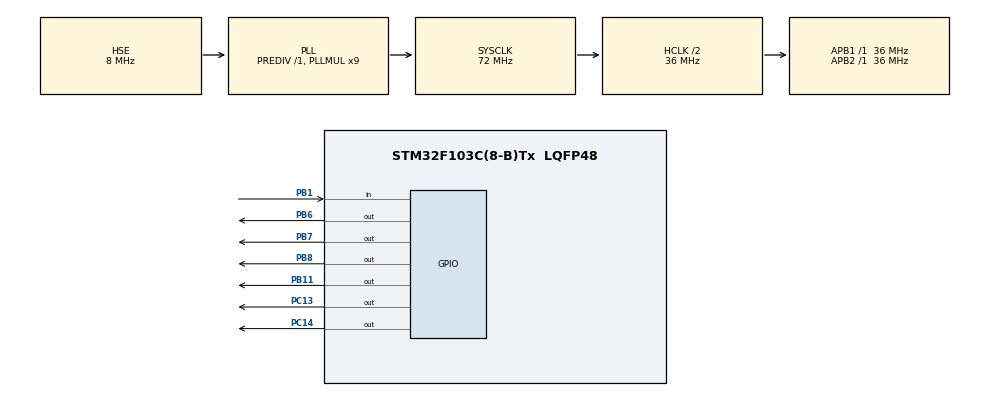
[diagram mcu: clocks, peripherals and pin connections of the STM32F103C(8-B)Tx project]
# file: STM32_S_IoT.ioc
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Mcu.Family=STM32F1
Mcu.Name=STM32F103C(8-B)Tx
Mcu.Package=LQFP48
NVIC.PriorityGroup=NVIC_PRIORITYGROUP_4
NVIC.TIM3_IRQn=true\:0\:0\:false\:false\:true\:true\:true
PA13.Mode=Serial_Wire
PA13.Signal=SYS_JTMS-SWDIO
PA14.Mode=Serial_Wire
PA14.Signal=SYS_JTCK-SWCLK
PB1.GPIO_PuPd=GPIO_PULLUP
PB1.Signal=GPIO_Input
PB11.GPIO_ModeDefaultOutputPP=GPIO_MODE_OUTPUT_OD
PB11.GPIO_Speed=GPIO_SPEED_FREQ_HIGH
PB11.Signal=GPIO_Output
PB6.GPIO_Speed=GPIO_SPEED_FREQ_HIGH
PB6.Signal=GPIO_Output
PB7.GPIO_ModeDefaultOutputPP=GPIO_MODE_OUTPUT_OD
PB7.GPIO_Speed=GPIO_SPEED_FREQ_HIGH
PB7.Signal=GPIO_Output
PB8.GPIO_Speed=GPIO_SPEED_FREQ_HIGH
PB8.Signal=GPIO_Output
PC13-TAMPER-RTC.Signal=GPIO_Output
PC14-OSC32_IN.Signal=GPIO_Output
PD0-OSC_IN.Mode=HSE-External-Oscillator
PD0-OSC_IN.Signal=RCC_OSC_IN
PD1-OSC_OUT.Mode=HSE-External-Oscillator
PD1-OSC_OUT.Signal=RCC_OSC_OUT
ProjectManager.HeapSize=0x200
ProjectManager.StackSize=0x400
ProjectManager.TargetToolchain=MDK-ARM V5.27
RCC.AHBCLKDivider=RCC_SYSCLK_DIV2
RCC.AHBFreq_Value=36000000
RCC.APB1Freq_Value=36000000
RCC.APB1TimFreq_Value=36000000
RCC.APB2Freq_Value=36000000
RCC.APB2TimFreq_Value=36000000
RCC.HCLKFreq_Value=36000000
RCC.PLLMUL=RCC_PLL_MUL9
RCC.PLLSourceVirtual=RCC_PLLSOURCE_HSE
RCC.SYSCLKFreq_VALUE=72000000
RCC.SYSCLKSource=RCC_SYSCLKSOURCE_PLLCLK
RCC.USBFreq_Value=72000000
TIM3.AutoReloadPreload=TIM_AUTORELOAD_PRELOAD_ENABLE
TIM3.Period=4
TIM3.Prescaler=35
VP_TIM3_VS_ClockSourceINT.Mode=Internal
board=custom

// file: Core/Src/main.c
/* USER CODE BEGIN Header */
/**
  ******************************************************************************
  * @file           : main.c
  * @brief          : Main program body
  ******************************************************************************
  * @attention
  *
  * <h2><center>&copy; Copyright (c) 2021 STMicroelectronics.
  * All rights reserved.</center></h2>
  *
  * This software component is licensed by ST under BSD 3-Clause license,
  * the "License"; You may not use this file except in compliance with the
  * License. You may obtain a copy of the License at:
  *                        opensource.org/licenses/BSD-3-Clause
  *
  ******************************************************************************
  */
/* USER CODE END Header */
#include "main.h"

/* USER CODE BEGIN Includes */
#include "DS18B20_Temp.h"
#include "DS1302.h"
/* USER CODE END Includes */

TIM_HandleTypeDef htim3;

/* USER CODE BEGIN PV */
		float TempCelsium=0;	//Переменная для хранения температуры
/* USER CODE END PV */

void SystemClock_Config(void);
static void MX_GPIO_Init(void);
static void MX_TIM3_Init(void);

int main(void)
{

  /* MCU Configuration--------------------------------------------------------*/

  /* Reset of all peripherals, Initializes the Flash interface and the Systick. */
  HAL_Init();

  /* Configure the system clock */
  SystemClock_Config();

  /* Initialize all configured peripherals */
  MX_GPIO_Init();
  MX_TIM3_Init();
  /* USER CODE BEGIN 2 */
	uint8_t Write_On=0;
	//Write_On=0xff;
	if(Write_On==0xff)
	{
		Data_time_set.sec=5;
		Data_time_set.min=49;
		Data_time_set.hour=15;
		Data_time_set.day=7;
		Data_time_set.day_of_week=3;
		Data_time_set.month=4;
		Data_time_set.year=21;
		Write_All_DS1302();
	}

		uint32_t Time_On=23*60+5;		//23:05 время вкл
		uint32_t Time_Off=5*60+00; 	//06:55 время выкл

		float Temp_H_min=15; 						//Температура по умолчанию
		float Temp_H_max=Temp_H_min+1;	//Температура с гистерезисом
		float Temp_H=Temp_H_min; 				//Температура стартовая

		//включаем передачу
		HAL_TIM_Base_Start(&htim3);
		HAL_TIM_Base_Start_IT(&htim3);

	HAL_Delay(1000); //первое преобразование температуры

  /* USER CODE END 2 */

  /* Infinite loop */
  /* USER CODE BEGIN WHILE */
  while (1)
  {

				if(DS18B20_Data.Flag_ready==Temp_update)
				{
					TempCelsium=DS18B20_Data.Temp_celsium;
					DS18B20_Data.Flag_ready=Temp_not_update;
				}

				Read_All_DS1302();
				uint8_t sec = Data_time.sec;
				uint8_t min = Data_time.min;
				uint8_t hour = Data_time.hour;
				uint8_t day = Data_time.day;
				uint8_t day_of_week = Data_time.day_of_week;
				uint8_t month = Data_time.month;
				uint8_t year = Data_time.year;

				uint32_t Data_min=Data_time.hour*60+Data_time.min; //Текущее время в минутах

				if(HAL_GPIO_ReadPin(GPIOB,GPIO_PIN_1)>0)
				{
							HAL_Delay(10);
							if(HAL_GPIO_ReadPin(GPIOB,GPIO_PIN_1)>0)
							{
									Data_min=Time_On+5;
							}
				}

				if( (Data_min>Time_On) || (Data_min<Time_Off))		//Если после 23:05 и до 6:55
				{
					if(TempCelsium<=Temp_H)
					{
						HAL_GPIO_WritePin(GPIOC,GPIO_PIN_13,GPIO_PIN_SET);//зажигаем светордиод
						HAL_GPIO_WritePin(GPIOC,GPIO_PIN_14,GPIO_PIN_SET);
						Temp_H=Temp_H_max;		//гистерезис
					}
					else
					{
						Temp_H=Temp_H_min;
						HAL_GPIO_WritePin(GPIOC,GPIO_PIN_13,GPIO_PIN_SET);//гасим светодиод
						HAL_GPIO_WritePin(GPIOC,GPIO_PIN_14,GPIO_PIN_RESET);
					}
				}
				else
				{
						HAL_GPIO_WritePin(GPIOC,GPIO_PIN_13,GPIO_PIN_SET);
						HAL_GPIO_WritePin(GPIOC,GPIO_PIN_14,GPIO_PIN_RESET);
				}
				HAL_Delay(5000);

    /* USER CODE END WHILE */

  }
}

void SystemClock_Config(void)
{
  RCC_OscInitTypeDef RCC_OscInitStruct = {0};
  RCC_ClkInitTypeDef RCC_ClkInitStruct = {0};

  /** Initializes the RCC Oscillators according to the specified parameters
  * in the RCC_OscInitTypeDef structure.
  */
  RCC_OscInitStruct.OscillatorType = RCC_OSCILLATORTYPE_HSE;
  RCC_OscInitStruct.HSEState = RCC_HSE_ON;
  RCC_OscInitStruct.HSEPredivValue = RCC_HSE_PREDIV_DIV1;
  RCC_OscInitStruct.HSIState = RCC_HSI_ON;
  RCC_OscInitStruct.PLL.PLLState = RCC_PLL_ON;
  RCC_OscInitStruct.PLL.PLLSource = RCC_PLLSOURCE_HSE;
  RCC_OscInitStruct.PLL.PLLMUL = RCC_PLL_MUL9;
  if (HAL_RCC_OscConfig(&RCC_OscInitStruct) != HAL_OK)
  {
    Error_Handler();
  }
  /** Initializes the CPU, AHB and APB buses clocks
  */
  RCC_ClkInitStruct.ClockType = RCC_CLOCKTYPE_HCLK|RCC_CLOCKTYPE_SYSCLK
                              |RCC_CLOCKTYPE_PCLK1|RCC_CLOCKTYPE_PCLK2;
  RCC_ClkInitStruct.SYSCLKSource = RCC_SYSCLKSOURCE_PLLCLK;
  RCC_ClkInitStruct.AHBCLKDivider = RCC_SYSCLK_DIV2;
  RCC_ClkInitStruct.APB1CLKDivider = RCC_HCLK_DIV1;
  RCC_ClkInitStruct.APB2CLKDivider = RCC_HCLK_DIV1;

  if (HAL_RCC_ClockConfig(&RCC_ClkInitStruct, FLASH_LATENCY_2) != HAL_OK)
  {
    Error_Handler();
  }
}

static void MX_TIM3_Init(void)
{

  TIM_ClockConfigTypeDef sClockSourceConfig = {0};
  TIM_MasterConfigTypeDef sMasterConfig = {0};

  htim3.Instance = TIM3;
  htim3.Init.Prescaler = 35;
  htim3.Init.CounterMode = TIM_COUNTERMODE_UP;
  htim3.Init.Period = 4;
  htim3.Init.ClockDivision = TIM_CLOCKDIVISION_DIV1;
  htim3.Init.AutoReloadPreload = TIM_AUTORELOAD_PRELOAD_ENABLE;
  if (HAL_TIM_Base_Init(&htim3) != HAL_OK)
  {
    Error_Handler();
  }
  sClockSourceConfig.ClockSource = TIM_CLOCKSOURCE_INTERNAL;
  if (HAL_TIM_ConfigClockSource(&htim3, &sClockSourceConfig) != HAL_OK)
  {
    Error_Handler();
  }
  sMasterConfig.MasterOutputTrigger = TIM_TRGO_RESET;
  sMasterConfig.MasterSlaveMode = TIM_MASTERSLAVEMODE_DISABLE;
  if (HAL_TIMEx_MasterConfigSynchronization(&htim3, &sMasterConfig) != HAL_OK)
  {
    Error_Handler();
  }

}

static void MX_GPIO_Init(void)
{
  GPIO_InitTypeDef GPIO_InitStruct = {0};

  /* GPIO Ports Clock Enable */
  __HAL_RCC_GPIOC_CLK_ENABLE();
  __HAL_RCC_GPIOD_CLK_ENABLE();
  __HAL_RCC_GPIOB_CLK_ENABLE();
  __HAL_RCC_GPIOA_CLK_ENABLE();

  /*Configure GPIO pin Output Level */
  HAL_GPIO_WritePin(GPIOC, GPIO_PIN_13|GPIO_PIN_14, GPIO_PIN_RESET);

  /*Configure GPIO pin Output Level */
  HAL_GPIO_WritePin(GPIOB, GPIO_PIN_11|GPIO_PIN_6|GPIO_PIN_7|GPIO_PIN_8, GPIO_PIN_RESET);

  /*Configure GPIO pins : PC13 PC14 */
  GPIO_InitStruct.Pin = GPIO_PIN_13|GPIO_PIN_14;
  GPIO_InitStruct.Mode = GPIO_MODE_OUTPUT_PP;
  GPIO_InitStruct.Pull = GPIO_NOPULL;
  GPIO_InitStruct.Speed = GPIO_SPEED_FREQ_LOW;
  HAL_GPIO_Init(GPIOC, &GPIO_InitStruct);

  /*Configure GPIO pin : PB1 */
  GPIO_InitStruct.Pin = GPIO_PIN_1;
  GPIO_InitStruct.Mode = GPIO_MODE_INPUT;
  GPIO_InitStruct.Pull = GPIO_PULLUP;
  HAL_GPIO_Init(GPIOB, &GPIO_InitStruct);

  /*Configure GPIO pins : PB11 PB7 */
  GPIO_InitStruct.Pin = GPIO_PIN_11|GPIO_PIN_7;
  GPIO_InitStruct.Mode = GPIO_MODE_OUTPUT_OD;
  GPIO_InitStruct.Pull = GPIO_NOPULL;
  GPIO_InitStruct.Speed = GPIO_SPEED_FREQ_HIGH;
  HAL_GPIO_Init(GPIOB, &GPIO_InitStruct);

  /*Configure GPIO pins : PB6 PB8 */
  GPIO_InitStruct.Pin = GPIO_PIN_6|GPIO_PIN_8;
  GPIO_InitStruct.Mode = GPIO_MODE_OUTPUT_PP;
  GPIO_InitStruct.Pull = GPIO_NOPULL;
  GPIO_InitStruct.Speed = GPIO_SPEED_FREQ_HIGH;
  HAL_GPIO_Init(GPIOB, &GPIO_InitStruct);

}

void Error_Handler(void)
{
}

/************************ (C) COPYRIGHT STMicroelectronics *****END OF FILE****/
